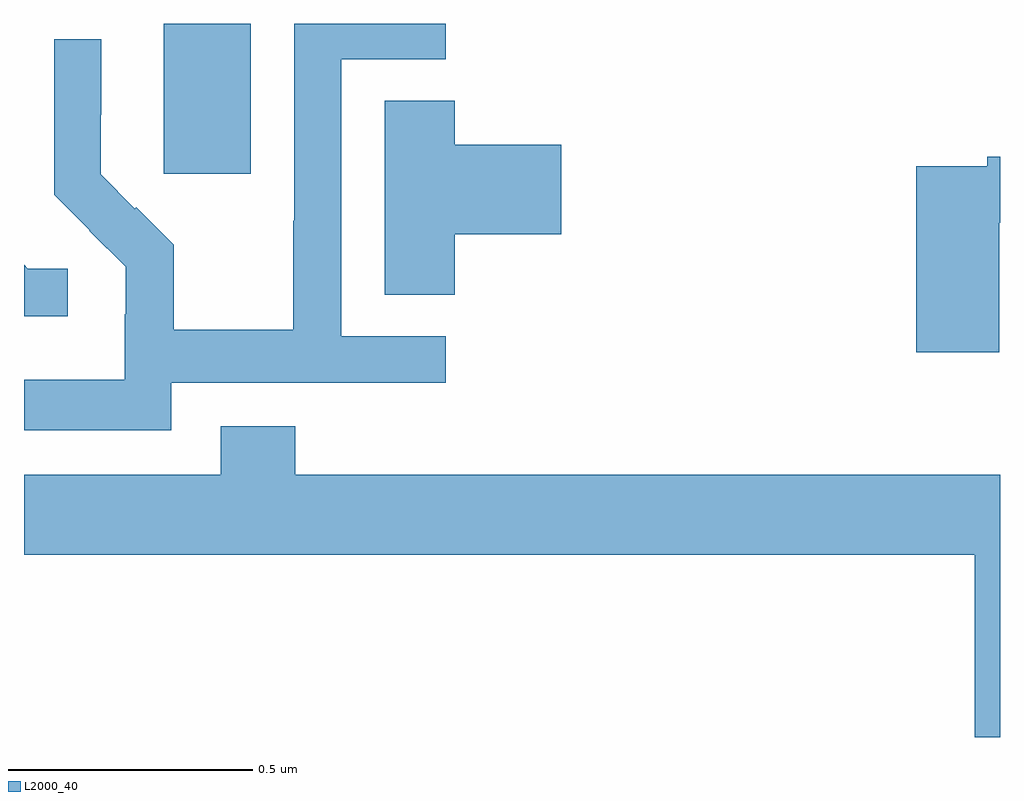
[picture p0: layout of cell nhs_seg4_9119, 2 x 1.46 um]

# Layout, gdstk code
import gdstk
lib = gdstk.Library(unit=1e-6, precision=1e-09)
def R(c, l, rs):  # rectangles x0, y0, x1, y1
    for r in rs: c.add(gdstk.rectangle(r[:2], r[2:], *l))
def P(c, l, *ps):  # polygons
    for p in ps: c.add(gdstk.Polygon(p, *l))
L2000_40 = (2000, 40)

nhs_seg4_9119 = lib.new_cell('nhs_seg4_9119')
R(nhs_seg4_9119, L2000_40, [(223.286,805.593,223.465,805.9)])
P(nhs_seg4_9119, L2000_40, [(223.302,805.164),(223.864,805.164),(223.864,805.26),(223.65,805.26),(223.65,805.827),(223.864,805.827),(223.864,805.9),(223.554,805.9),(223.554,805.496),(223.552,805.496),(223.552,805.273),(223.307,805.273),(223.307,805.447),(223.23,805.524),(223.227,805.521),(223.157,805.592),(223.157,805.714),(223.158,805.714),(223.158,805.868),(223.062,805.868),(223.062,805.55),(223.135,805.477),(223.134,805.476),(223.208,805.402),(223.208,805.305),(223.206,805.305),(223.206,805.171),(223,805.171),(223,805.067),(223.302,805.067)],
  [(223.883,805.469),(224.101,805.469),(224.101,805.652),(223.883,805.652),(223.883,805.742),(223.739,805.742),(223.739,805.345),(223.883,805.345)],
  [(224.998,805.492),(225,805.492),(225,805.628),(224.974,805.628),(224.974,805.608),(224.828,805.608),(224.828,805.227),(224.998,805.227)],
  [(223.09,805.398),(223.008,805.398),(223,805.406),(223,805.301),(223.09,805.301)],
  [(225,804.976),(223.556,804.976),(223.556,805.075),(223.403,805.075),(223.403,804.976),(223,804.976),(223,804.812),(224.948,804.812),(224.948,804.438),(225,804.438)])

lib.write_gds('nhs_seg4_9119.gds')
